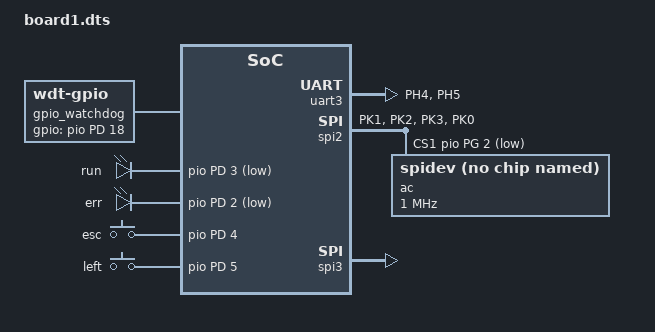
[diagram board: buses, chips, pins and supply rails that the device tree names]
/dts-v1/;
/plugin/;

/* Bit 0 express polarity */
#define GPIO_ACTIVE_HIGH 0
#define GPIO_ACTIVE_LOW 1

/* Bit 4 express pull up */
#define GPIO_PULL_UP 16

/* Bit 5 express pull down */
#define GPIO_PULL_DOWN 32

#define  PA	0
#define  PB	1
#define  PC	2
#define  PD	3
#define  PE	4
#define  PF	5
#define  PG	6
#define  PH	7
#define  PI	8
#define  PJ	9
#define  PK	10

/* r pio */
#define  PL	0
#define  PM	1
#define  PN	2

/ {
	gpio_watchdog: gpio_watchdog {
		compatible = "linux,wdt-gpio";
		gpios = <&pio PD 18 GPIO_ACTIVE_HIGH>;
		always-running;
		hw_algo = "toggle";
		hw_margin_ms = <200>;
	};

	leds {
		compatible = "gpio-leds";

		run-led {
			label = "run";
			gpios = <&pio PD 3 GPIO_ACTIVE_LOW>;
			linux,default-trigger = "heartbeat";
			default-state = "on";
		};

		err-led {
			label = "err";
			gpios = <&pio PD 2 GPIO_ACTIVE_LOW>;
			linux,default-trigger = "none";
			default-state = "off";
		};
	};

	gpio_keys_polled: gpio_keys_polled {
		compatible = "gpio-keys-polled";
		#address-cells = <1>;
		#size-cells = <0>;
		poll-interval = <30>;
		status = "okay";

		button@0 {
			label = "esc";
			linux,code = <1>;
			gpios = <&pio PD 4 (GPIO_ACTIVE_HIGH | GPIO_PULL_DOWN)>;
		};
		button@1 {
			label = "left";
			linux,code = <105>;
			gpios = <&pio PD 5 (GPIO_ACTIVE_HIGH | GPIO_PULL_DOWN)>;
		};
	};
};

&pio {
	uart3_pins_a: uart3_pins@0 {
		pins = "PH4", "PH5";
		function = "uart3";
		bias-pull-up;
	};

	uart3_pins_b: uart3_pins@1 {
		pins = "PH4", "PH5";
		function = "io_disabled";
	};

	spi2_pins_default: spi2@0 {
		pins = "PK1", "PK2", "PK3"; /* clk, mosi, miso */
		function = "spi2";
		drive-strength = <10>;
	};

	spi2_pins_cs: spi2@1 {
		pins = "PK0"; /* cs, hold, wp */
		function = "spi2";
		drive-strength = <10>;
		bias-pull-up;
	};

	spi2_pins_sleep: spi2@2 {
		pins = "PK1", "PK2", "PK3", "PK0";
		function = "io_disabled";
	};
};

&uart3 {
	pinctrl-names = "default", "sleep";
	pinctrl-0 = <&uart3_pins_a>;
	pinctrl-1 = <&uart3_pins_b>;
	status = "okay";
};

&spi2 {
	pinctrl-0 = <&spi2_pins_default &spi2_pins_cs>;
	pinctrl-1 = <&spi2_pins_sleep>;
	pinctrl-names = "default", "sleep";
	status = "okay";

	cs-gpios = <0>, <&pio PG 2 GPIO_ACTIVE_LOW>;

	ac@1 {
		compatible = "rohm,dh2228fv";
		spi-max-frequency = <1000000>;
		reg = <1>;
		spi-cpha;
	};
};

&spi3 {
	cs-gpios = <&pio PG 3 GPIO_ACTIVE_LOW>,
		   <&pio PG 4 GPIO_ACTIVE_LOW>;

	status = "okay";
};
